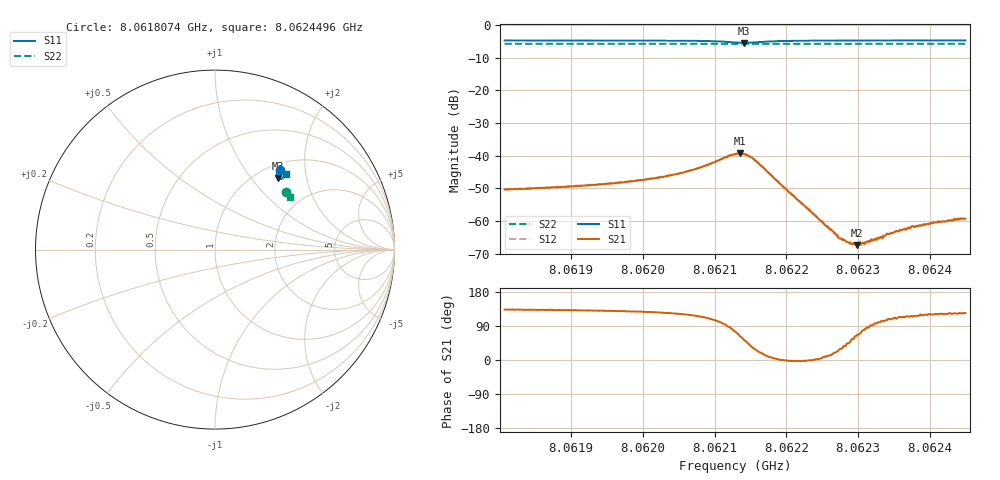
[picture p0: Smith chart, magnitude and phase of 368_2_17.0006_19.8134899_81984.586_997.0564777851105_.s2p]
#  HZ  S  RI  R  50.00
! Rohde & Schwarz Vector Network Analyzer
! Rohde-Schwarz,ZNB20-2Port,1311601062101988,3.16
! Created: UTC 3/20/2024, 11:08:37 PM
! freq[Hz]  re:S11  im:S11  re:S21  im:S21  re:S12  im:S12  re:S22  im:S22
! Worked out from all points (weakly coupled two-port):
!   401 points, 8.0618074 GHz to 8.0624496 GHz, reference 50 ohm
!   highest |S21| = -39.30 dB at 8.0621349 GHz (marker M1); lowest = -67.4 dB at 8.0622987 GHz (marker M2)
!   lowest |S11| = -5.5 dB at 8.0621413 GHz (marker M3), VSWR 3.26, Z = 61.8 + j68.5 ohm
!   |S11| at or under -10 dB: nowhere
!   |S22| runs from -5.9 to -5.8 dB; largest |S21 - S12| = 0.00082
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8.06180744e9  0.3648 0.4458  -0.00205 0.00221  -0.00193 0.00237  0.3975 0.3234
8.06191499e9  0.3722 0.4394  -0.00225 0.00262  -0.00212 0.00273  0.4014 0.3179
8.06197921e9  0.3769 0.4344  -0.00247 0.0031  -0.00231 0.00327  0.404 0.3146
8.06202255e9  0.3806 0.4295  -0.00267 0.00376  -0.00247 0.00397  0.4056 0.3123
8.06207071e9  0.3848 0.4202  -0.00282 0.00539  -0.00251 0.00562  0.4073 0.3097
8.0621285e9  0.3661 0.393  0.00262 0.0101  0.00331 0.0101  0.4081 0.3059
8.06213492e9  0.3574 0.3939  0.00476 0.00974  0.00526 0.00959  0.408 0.3059
8.06214134e9  0.3494 0.3985  0.00645 0.00838  0.00686 0.00819  0.4078 0.3059
8.06215097e9  0.3428 0.4104  0.00761 0.00558  0.00791 0.00509  0.4081 0.306
8.062159e9  0.3435 0.42  0.00722 0.00342  0.00748 0.003  0.4086 0.3061
8.06223605e9  0.3724 0.4347  0.00132 -2.21e-05  0.00135 -9.03e-05  0.4127 0.3027
8.06227458e9  0.3782 0.4321  0.00047 0.000257  0.000506 0.000207  0.4141 0.3006
8.06228742e9  0.38 0.4313  0.000329 0.000324  0.000312 0.000336  0.4145 0.3
8.06229866e9  0.3811 0.4306  0.000172 0.000392  0.000194 0.000362  0.4151 0.2993
8.06230829e9  0.382 0.43  8.44e-05 0.000438  0.000115 0.000432  0.4154 0.2987
8.06232595e9  0.3838 0.4288  -6.51e-05 0.000509  -8.65e-06 0.000501  0.4159 0.2979
8.06233398e9  0.3845 0.4283  -0.000126 0.000525  -7.4e-05 0.00058  0.4164 0.2975
8.06234361e9  0.3853 0.4277  -0.000205 0.000595  -0.000164 0.000606  0.4167 0.2968
8.06236929e9  0.3873 0.4262  -0.000336 0.000704  -0.000311 0.000705  0.4175 0.2955
8.06237411e9  0.3878 0.4258  -0.000359 0.000725  -0.000343 0.000754  0.4178 0.2952
8.06239337e9  0.3891 0.4248  -0.000435 0.000757  -0.000384 0.000787  0.4184 0.2943
8.06244956e9  0.3929 0.4216  -0.000603 0.000894  -0.000571 0.000931  0.4204 0.2914
